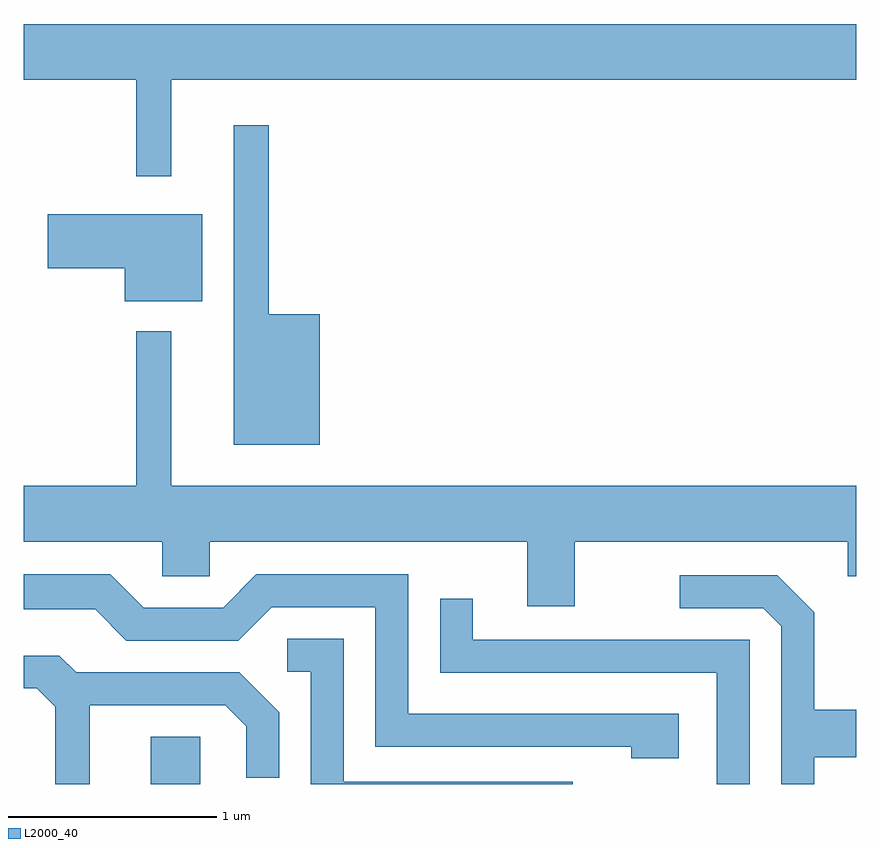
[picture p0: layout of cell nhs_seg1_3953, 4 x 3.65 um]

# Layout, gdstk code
import gdstk
lib = gdstk.Library(unit=1e-6, precision=1e-09)
def R(c, l, rs):  # rectangles x0, y0, x1, y1
    for r in rs: c.add(gdstk.rectangle(r[:2], r[2:], *l))
def P(c, l, *ps):  # polygons
    for p in ps: c.add(gdstk.Polygon(p, *l))
L2000_40 = (2000, 40)

nhs_seg1_3953 = lib.new_cell('nhs_seg1_3953')
R(nhs_seg1_3953, L2000_40, [(304.221,931.712,304.459,931.939)])
P(nhs_seg1_3953, L2000_40, [(304.319,935.096),(307.611,935.096),(307.611,935.364),(303.611,935.364),(303.611,935.096),(304.151,935.096),(304.151,934.633),(304.319,934.633)],
  [(305.034,933.969),(304.789,933.969),(304.789,934.878),(304.621,934.878),(304.621,933.341),(305.034,933.341)],
  [(304.469,934.449),(303.726,934.449),(303.726,934.191),(304.096,934.191),(304.096,934.031),(304.469,934.031)],
  [(304.276,932.711),(304.504,932.711),(304.504,932.876),(306.031,932.876),(306.031,932.566),(306.259,932.566),(306.259,932.876),(307.571,932.876),(307.571,932.711),(307.611,932.711),(307.611,933.144),(304.319,933.144),(304.319,933.888),(304.151,933.888),(304.151,933.144),(303.611,933.144),(303.611,932.876),(304.276,932.876)],
  [(306.759,932.049),(305.459,932.049),(305.459,932.719),(304.729,932.719),(304.569,932.559),(304.187,932.559),(304.027,932.719),(303.611,932.719),(303.611,932.551),(303.954,932.551),(304.104,932.401),(304.642,932.401),(304.802,932.561),(305.301,932.561),(305.301,931.891),(306.531,931.891),(306.531,931.836),(306.759,931.836)],
  [(307.409,931.841),(307.611,931.841),(307.611,932.069),(307.409,932.069),(307.409,932.537),(307.232,932.714),(306.763,932.714),(306.763,932.556),(307.164,932.556),(307.251,932.469),(307.251,931.712),(307.409,931.712)],
  [(307.099,932.404),(305.769,932.404),(305.769,932.603),(305.611,932.603),(305.611,932.246),(306.941,932.246),(306.941,931.712),(307.099,931.712)],
  [(306.248,931.724),(305.149,931.724),(305.149,932.409),(304.878,932.409),(304.878,932.251),(304.991,932.251),(304.991,931.712),(306.248,931.712)],
  [(303.929,932.091),(304.579,932.091),(304.681,931.989),(304.681,931.743),(304.839,931.743),(304.839,932.057),(304.647,932.249),(303.862,932.249),(303.782,932.329),(303.611,932.329),(303.611,932.171),(303.674,932.171),(303.761,932.084),(303.761,931.712),(303.929,931.712)])

lib.write_gds('nhs_seg1_3953.gds')
